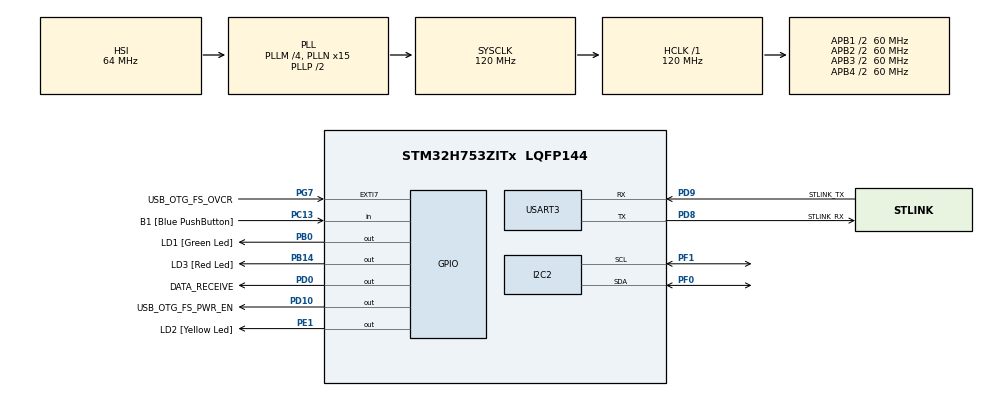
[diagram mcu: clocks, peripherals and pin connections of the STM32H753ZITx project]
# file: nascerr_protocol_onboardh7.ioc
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CORTEX_M7.CPU_DCache=Disabled
CORTEX_M7.CPU_ICache=Disabled
CORTEX_M7.MPU_Control=__NULL
Dma.Request0=USART3_TX
Dma.USART3_TX.0.Direction=DMA_MEMORY_TO_PERIPH
Dma.USART3_TX.0.EventEnable=DISABLE
Dma.USART3_TX.0.FIFOMode=DMA_FIFOMODE_DISABLE
Dma.USART3_TX.0.Instance=DMA1_Stream0
Dma.USART3_TX.0.MemDataAlignment=DMA_MDATAALIGN_BYTE
Dma.USART3_TX.0.MemInc=DMA_MINC_ENABLE
Dma.USART3_TX.0.Mode=DMA_NORMAL
Dma.USART3_TX.0.PeriphDataAlignment=DMA_PDATAALIGN_BYTE
Dma.USART3_TX.0.PeriphInc=DMA_PINC_DISABLE
Dma.USART3_TX.0.Polarity=HAL_DMAMUX_REQ_GEN_RISING
Dma.USART3_TX.0.Priority=DMA_PRIORITY_LOW
Dma.USART3_TX.0.RequestNumber=1
Dma.USART3_TX.0.SignalID=NONE
Dma.USART3_TX.0.SyncEnable=DISABLE
Dma.USART3_TX.0.SyncPolarity=HAL_DMAMUX_SYNC_NO_EVENT
Dma.USART3_TX.0.SyncRequestNumber=1
Dma.USART3_TX.0.SyncSignalID=NONE
I2C2.OwnAddress=0x55
I2C2.Timing=0x107075B0
Mcu.Family=STM32H7
Mcu.Name=STM32H753ZITx
Mcu.Package=LQFP144
NVIC.DMA1_Stream0_IRQn=true\:0\:0\:false\:false\:true\:false\:true\:true
NVIC.I2C2_ER_IRQn=true\:0\:0\:false\:false\:true\:true\:true\:true
NVIC.I2C2_EV_IRQn=true\:0\:0\:false\:false\:true\:true\:true\:true
NVIC.PriorityGroup=NVIC_PRIORITYGROUP_4
NVIC.TIM1_UP_IRQn=true\:0\:0\:true\:false\:true\:true\:true\:true
NVIC.USART3_IRQn=true\:0\:0\:false\:false\:true\:true\:true\:true
PA1.Signal=ETH_REF_CLK
PA11.Signal=USB_OTG_FS_DM
PA12.Signal=USB_OTG_FS_DP
PA2.Signal=ETH_MDIO
PA7.Signal=ETH_CRS_DV
PA8.Signal=USB_OTG_FS_SOF
PA9.Signal=USB_OTG_FS_VBUS
PB0.GPIO_Label=LD1 [Green Led]
PB0.Signal=GPIO_Output
PB13.Signal=ETH_TXD1
PB14.GPIO_Label=LD3 [Red Led]
PB14.Signal=GPIO_Output
PC1.Signal=ETH_MDC
PC13.GPIO_Label=B1 [Blue PushButton]
PC13.Signal=GPIO_Input
PC14-OSC32_IN\ (OSC32_IN).Signal=RCC_OSC32_IN
PC15-OSC32_OUT\ (OSC32_OUT).Signal=RCC_OSC32_OUT
PC4.Signal=ETH_RXD0
PC5.Signal=ETH_RXD1
PD0.GPIO_Label=DATA_RECEIVE
PD0.Signal=GPIO_Output
PD10.GPIO_Label=USB_OTG_FS_PWR_EN
PD10.Signal=GPIO_Output
PD8.GPIO_Label=STLINK_RX
PD8.Mode=Asynchronous
PD8.Signal=USART3_TX
PD9.GPIO_Label=STLINK_TX
PD9.Mode=Asynchronous
PD9.Signal=USART3_RX
PE1.GPIO_Label=LD2 [Yellow Led]
PE1.Signal=GPIO_Output
PF0.GPIO_Pu=GPIO_PULLUP
PF0.Mode=I2C
PF0.Signal=I2C2_SDA
PF1.GPIO_Pu=GPIO_PULLUP
PF1.Mode=I2C
PF1.Signal=I2C2_SCL
PG11.Signal=ETH_TX_EN
PG13.Signal=ETH_TXD0
PG7.GPIO_Label=USB_OTG_FS_OVCR
PG7.Signal=GPXTI7
PH0-OSC_IN\ (PH0).Mode=HSE-External-Oscillator
PH0-OSC_IN\ (PH0).Signal=RCC_OSC_IN
PH1-OSC_OUT\ (PH1).Mode=HSE-External-Oscillator
PH1-OSC_OUT\ (PH1).Signal=RCC_OSC_OUT
ProjectManager.HeapSize=0x200
ProjectManager.StackSize=0x400
ProjectManager.TargetToolchain=STM32CubeIDE
RCC.ADCFreq_Value=129000000
RCC.APB1Freq_Value=60000000
RCC.APB2Freq_Value=60000000
RCC.APB3Freq_Value=60000000
RCC.APB4Freq_Value=60000000
RCC.CortexFreq_Value=120000000
RCC.D1PPRE=RCC_APB3_DIV2
RCC.D2PPRE1=RCC_APB1_DIV2
RCC.D2PPRE2=RCC_APB2_DIV2
RCC.D3PPRE=RCC_APB4_DIV2
RCC.DIVM1=4
RCC.DIVN1=15
RCC.DIVQ1=4
RCC.HCLKFreq_Value=120000000
RCC.HSE_VALUE=8000000
RCC.PLL2FRACN=0
RCC.PLL3FRACN=0
RCC.PLLFRACN=0
RCC.PWR_Regulator_Voltage_Scale=PWR_REGULATOR_VOLTAGE_SCALE2
RCC.SYSCLKFreq_VALUE=120000000
RCC.SYSCLKSource=RCC_SYSCLKSOURCE_PLLCLK
RCC.USBFreq_Value=60000000
TIM1.Period=60000-1
TIM1.Prescaler=2-1
USART3.VirtualMode-Asynchronous=VM_ASYNC
VP_MEMORYMAP_VS_MEMORYMAP.Mode=CurAppReg
VP_TIM1_VS_ClockSourceINT.Mode=Internal
board=NUCLEO-H753ZI

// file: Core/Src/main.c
/* USER CODE BEGIN Header */
/**
  ******************************************************************************
  * @file           : main.c
  * @brief          : Main program body
  ******************************************************************************
  * @attention
  *
  * Copyright (c) 2024 STMicroelectronics.
  * All rights reserved.
  *
  * This software is licensed under terms that can be found in the LICENSE file
  * in the root directory of this software component.
  * If no LICENSE file comes with this software, it is provided AS-IS.
  *
  ******************************************************************************
  */
/* USER CODE END Header */
#include "main.h"

/* USER CODE BEGIN Includes */
#include <stdio.h>
#include "i2c_slave.h"
#include "NASCERR_SysTime.h"
#include "NASCERR_Protocol.h"
#include "NASCERR_Control.h"
/* USER CODE END Includes */

Seq_ReadTypeDef teste;
int teste2;

I2C_HandleTypeDef hi2c2;

TIM_HandleTypeDef htim1;

UART_HandleTypeDef huart3;
DMA_HandleTypeDef hdma_usart3_tx;

/* USER CODE BEGIN PV */
NASCERR_COMMANDS command = NO_COMMANDS;
uint32_t g_Timer[3] = {0,0,0};
uint32_t g_Timer2[3] = {0,0,0};
extern PARAM_STANDARD transmitted, received;

/* USER CODE END PV */

void SystemClock_Config(void);
static void MX_GPIO_Init(void);
static void MX_DMA_Init(void);
static void MX_USART3_UART_Init(void);
static void MX_I2C2_Init(void);
static void MX_TIM1_Init(void);

/* USER CODE BEGIN 0 */
int _write(int file, char *ptr, int len)
{
	HAL_UART_Transmit_DMA(&huart3, (uint8_t*) ptr, len);

	return len;
}
/* USER CODE END 0 */

int main(void)
{

  /* MCU Configuration--------------------------------------------------------*/

  /* Reset of all peripherals, Initializes the Flash interface and the Systick. */
  HAL_Init();

  /* Configure the system clock */
  SystemClock_Config();

  /* Initialize all configured peripherals */
  MX_GPIO_Init();
  MX_DMA_Init();
  MX_USART3_UART_Init();
  MX_I2C2_Init();
  MX_TIM1_Init();
  /* USER CODE BEGIN 2 */
  HAL_TIM_Base_Start_IT(&htim1);
  i2c_slave_init();
  printf("Application Initialized...\r\n");
  /* USER CODE END 2 */

  /* Infinite loop */
  /* USER CODE BEGIN WHILE */
  while (1)
  {
	  teste2 = sizeof(teste);
	  if(nascerr_protocol_receivedNewCommand())
	  {
		  command = nascerr_protocol_processCommand();
		  HAL_GPIO_WritePin(DATA_RECEIVE_GPIO_Port, DATA_RECEIVE_Pin, GPIO_PIN_SET);
	  }

//	  if (nascerr_systimer(TIMER_1s, g_Timer2) == Set)
//	  {
//		  HAL_GPIO_TogglePin(LD1_GPIO_Port, LD1_Pin);
//	  }

//	  if ((transmitted != Action_Succeeded)||(received != Action_Succeeded))
//	  {
//		  if (nascerr_systimer(TIMER_10ms, g_Timer) == Set)
//		  {
//			  transmitted = Action_Succeeded;
//			  received = Action_Succeeded;
//			  i2c_slave_reset();
//		  }
//	  }
//	  else {
//		  nascerr_systimer_reset(g_Timer);
//	  }
    /* USER CODE END WHILE */

  }
}

void SystemClock_Config(void)
{
  RCC_OscInitTypeDef RCC_OscInitStruct = {0};
  RCC_ClkInitTypeDef RCC_ClkInitStruct = {0};

  /** Supply configuration update enable
  */
  HAL_PWREx_ConfigSupply(PWR_LDO_SUPPLY);

  /** Configure the main internal regulator output voltage
  */
  __HAL_PWR_VOLTAGESCALING_CONFIG(PWR_REGULATOR_VOLTAGE_SCALE2);

  while(!__HAL_PWR_GET_FLAG(PWR_FLAG_VOSRDY)) {}

  /** Initializes the RCC Oscillators according to the specified parameters
  * in the RCC_OscInitTypeDef structure.
  */
  RCC_OscInitStruct.OscillatorType = RCC_OSCILLATORTYPE_HSI;
  RCC_OscInitStruct.HSIState = RCC_HSI_DIV1;
  RCC_OscInitStruct.HSICalibrationValue = RCC_HSICALIBRATION_DEFAULT;
  RCC_OscInitStruct.PLL.PLLState = RCC_PLL_ON;
  RCC_OscInitStruct.PLL.PLLSource = RCC_PLLSOURCE_HSI;
  RCC_OscInitStruct.PLL.PLLM = 4;
  RCC_OscInitStruct.PLL.PLLN = 15;
  RCC_OscInitStruct.PLL.PLLP = 2;
  RCC_OscInitStruct.PLL.PLLQ = 4;
  RCC_OscInitStruct.PLL.PLLR = 2;
  RCC_OscInitStruct.PLL.PLLRGE = RCC_PLL1VCIRANGE_3;
  RCC_OscInitStruct.PLL.PLLVCOSEL = RCC_PLL1VCOWIDE;
  RCC_OscInitStruct.PLL.PLLFRACN = 0;
  if (HAL_RCC_OscConfig(&RCC_OscInitStruct) != HAL_OK)
  {
    Error_Handler();
  }

  /** Initializes the CPU, AHB and APB buses clocks
  */
  RCC_ClkInitStruct.ClockType = RCC_CLOCKTYPE_HCLK|RCC_CLOCKTYPE_SYSCLK
                              |RCC_CLOCKTYPE_PCLK1|RCC_CLOCKTYPE_PCLK2
                              |RCC_CLOCKTYPE_D3PCLK1|RCC_CLOCKTYPE_D1PCLK1;
  RCC_ClkInitStruct.SYSCLKSource = RCC_SYSCLKSOURCE_PLLCLK;
  RCC_ClkInitStruct.SYSCLKDivider = RCC_SYSCLK_DIV1;
  RCC_ClkInitStruct.AHBCLKDivider = RCC_HCLK_DIV1;
  RCC_ClkInitStruct.APB3CLKDivider = RCC_APB3_DIV2;
  RCC_ClkInitStruct.APB1CLKDivider = RCC_APB1_DIV2;
  RCC_ClkInitStruct.APB2CLKDivider = RCC_APB2_DIV2;
  RCC_ClkInitStruct.APB4CLKDivider = RCC_APB4_DIV2;

  if (HAL_RCC_ClockConfig(&RCC_ClkInitStruct, FLASH_LATENCY_2) != HAL_OK)
  {
    Error_Handler();
  }
}

static void MX_I2C2_Init(void)
{

  hi2c2.Instance = I2C2;
  hi2c2.Init.Timing = 0x107075B0;
  hi2c2.Init.OwnAddress1 = 170;
  hi2c2.Init.AddressingMode = I2C_ADDRESSINGMODE_7BIT;
  hi2c2.Init.DualAddressMode = I2C_DUALADDRESS_DISABLE;
  hi2c2.Init.OwnAddress2 = 0;
  hi2c2.Init.OwnAddress2Masks = I2C_OA2_NOMASK;
  hi2c2.Init.GeneralCallMode = I2C_GENERALCALL_DISABLE;
  hi2c2.Init.NoStretchMode = I2C_NOSTRETCH_DISABLE;
  if (HAL_I2C_Init(&hi2c2) != HAL_OK)
  {
    Error_Handler();
  }

  /** Configure Analogue filter
  */
  if (HAL_I2CEx_ConfigAnalogFilter(&hi2c2, I2C_ANALOGFILTER_ENABLE) != HAL_OK)
  {
    Error_Handler();
  }

  /** Configure Digital filter
  */
  if (HAL_I2CEx_ConfigDigitalFilter(&hi2c2, 0) != HAL_OK)
  {
    Error_Handler();
  }

}

static void MX_TIM1_Init(void)
{

  TIM_ClockConfigTypeDef sClockSourceConfig = {0};
  TIM_MasterConfigTypeDef sMasterConfig = {0};

  htim1.Instance = TIM1;
  htim1.Init.Prescaler = 2-1;
  htim1.Init.CounterMode = TIM_COUNTERMODE_UP;
  htim1.Init.Period = 60000-1;
  htim1.Init.ClockDivision = TIM_CLOCKDIVISION_DIV1;
  htim1.Init.RepetitionCounter = 0;
  htim1.Init.AutoReloadPreload = TIM_AUTORELOAD_PRELOAD_DISABLE;
  if (HAL_TIM_Base_Init(&htim1) != HAL_OK)
  {
    Error_Handler();
  }
  sClockSourceConfig.ClockSource = TIM_CLOCKSOURCE_INTERNAL;
  if (HAL_TIM_ConfigClockSource(&htim1, &sClockSourceConfig) != HAL_OK)
  {
    Error_Handler();
  }
  sMasterConfig.MasterOutputTrigger = TIM_TRGO_RESET;
  sMasterConfig.MasterOutputTrigger2 = TIM_TRGO2_RESET;
  sMasterConfig.MasterSlaveMode = TIM_MASTERSLAVEMODE_DISABLE;
  if (HAL_TIMEx_MasterConfigSynchronization(&htim1, &sMasterConfig) != HAL_OK)
  {
    Error_Handler();
  }

}

static void MX_USART3_UART_Init(void)
{

  huart3.Instance = USART3;
  huart3.Init.BaudRate = 115200;
  huart3.Init.WordLength = UART_WORDLENGTH_8B;
  huart3.Init.StopBits = UART_STOPBITS_1;
  huart3.Init.Parity = UART_PARITY_NONE;
  huart3.Init.Mode = UART_MODE_TX_RX;
  huart3.Init.HwFlowCtl = UART_HWCONTROL_NONE;
  huart3.Init.OverSampling = UART_OVERSAMPLING_16;
  huart3.Init.OneBitSampling = UART_ONE_BIT_SAMPLE_DISABLE;
  huart3.Init.ClockPrescaler = UART_PRESCALER_DIV1;
  huart3.AdvancedInit.AdvFeatureInit = UART_ADVFEATURE_NO_INIT;
  if (HAL_UART_Init(&huart3) != HAL_OK)
  {
    Error_Handler();
  }
  if (HAL_UARTEx_SetTxFifoThreshold(&huart3, UART_TXFIFO_THRESHOLD_1_8) != HAL_OK)
  {
    Error_Handler();
  }
  if (HAL_UARTEx_SetRxFifoThreshold(&huart3, UART_RXFIFO_THRESHOLD_1_8) != HAL_OK)
  {
    Error_Handler();
  }
  if (HAL_UARTEx_DisableFifoMode(&huart3) != HAL_OK)
  {
    Error_Handler();
  }

}

static void MX_DMA_Init(void)
{

  /* DMA controller clock enable */
  __HAL_RCC_DMA1_CLK_ENABLE();

  /* DMA interrupt init */
  /* DMA1_Stream0_IRQn interrupt configuration */
  HAL_NVIC_SetPriority(DMA1_Stream0_IRQn, 0, 0);
  HAL_NVIC_EnableIRQ(DMA1_Stream0_IRQn);

}

static void MX_GPIO_Init(void)
{
  GPIO_InitTypeDef GPIO_InitStruct = {0};

  /* GPIO Ports Clock Enable */
  __HAL_RCC_GPIOC_CLK_ENABLE();
  __HAL_RCC_GPIOF_CLK_ENABLE();
  __HAL_RCC_GPIOH_CLK_ENABLE();
  __HAL_RCC_GPIOA_CLK_ENABLE();
  __HAL_RCC_GPIOB_CLK_ENABLE();
  __HAL_RCC_GPIOD_CLK_ENABLE();
  __HAL_RCC_GPIOG_CLK_ENABLE();
  __HAL_RCC_GPIOE_CLK_ENABLE();

  /*Configure GPIO pin Output Level */
  HAL_GPIO_WritePin(GPIOB, LD1_Pin|LD3_Pin, GPIO_PIN_RESET);

  /*Configure GPIO pin Output Level */
  HAL_GPIO_WritePin(GPIOD, USB_OTG_FS_PWR_EN_Pin|DATA_RECEIVE_Pin, GPIO_PIN_RESET);

  /*Configure GPIO pin Output Level */
  HAL_GPIO_WritePin(LD2_GPIO_Port, LD2_Pin, GPIO_PIN_RESET);

  /*Configure GPIO pin : B1_Pin */
  GPIO_InitStruct.Pin = B1_Pin;
  GPIO_InitStruct.Mode = GPIO_MODE_INPUT;
  GPIO_InitStruct.Pull = GPIO_NOPULL;
  HAL_GPIO_Init(B1_GPIO_Port, &GPIO_InitStruct);

  /*Configure GPIO pins : PC1 PC4 PC5 */
  GPIO_InitStruct.Pin = GPIO_PIN_1|GPIO_PIN_4|GPIO_PIN_5;
  GPIO_InitStruct.Mode = GPIO_MODE_AF_PP;
  GPIO_InitStruct.Pull = GPIO_NOPULL;
  GPIO_InitStruct.Speed = GPIO_SPEED_FREQ_LOW;
  GPIO_InitStruct.Alternate = GPIO_AF11_ETH;
  HAL_GPIO_Init(GPIOC, &GPIO_InitStruct);

  /*Configure GPIO pins : PA1 PA2 PA7 */
  GPIO_InitStruct.Pin = GPIO_PIN_1|GPIO_PIN_2|GPIO_PIN_7;
  GPIO_InitStruct.Mode = GPIO_MODE_AF_PP;
  GPIO_InitStruct.Pull = GPIO_NOPULL;
  GPIO_InitStruct.Speed = GPIO_SPEED_FREQ_LOW;
  GPIO_InitStruct.Alternate = GPIO_AF11_ETH;
  HAL_GPIO_Init(GPIOA, &GPIO_InitStruct);

  /*Configure GPIO pins : LD1_Pin LD3_Pin */
  GPIO_InitStruct.Pin = LD1_Pin|LD3_Pin;
  GPIO_InitStruct.Mode = GPIO_MODE_OUTPUT_PP;
  GPIO_InitStruct.Pull = GPIO_NOPULL;
  GPIO_InitStruct.Speed = GPIO_SPEED_FREQ_LOW;
  HAL_GPIO_Init(GPIOB, &GPIO_InitStruct);

  /*Configure GPIO pin : PB13 */
  GPIO_InitStruct.Pin = GPIO_PIN_13;
  GPIO_InitStruct.Mode = GPIO_MODE_AF_PP;
  GPIO_InitStruct.Pull = GPIO_NOPULL;
  GPIO_InitStruct.Speed = GPIO_SPEED_FREQ_LOW;
  GPIO_InitStruct.Alternate = GPIO_AF11_ETH;
  HAL_GPIO_Init(GPIOB, &GPIO_InitStruct);

  /*Configure GPIO pins : USB_OTG_FS_PWR_EN_Pin DATA_RECEIVE_Pin */
  GPIO_InitStruct.Pin = USB_OTG_FS_PWR_EN_Pin|DATA_RECEIVE_Pin;
  GPIO_InitStruct.Mode = GPIO_MODE_OUTPUT_PP;
  GPIO_InitStruct.Pull = GPIO_NOPULL;
  GPIO_InitStruct.Speed = GPIO_SPEED_FREQ_LOW;
  HAL_GPIO_Init(GPIOD, &GPIO_InitStruct);

  /*Configure GPIO pin : USB_OTG_FS_OVCR_Pin */
  GPIO_InitStruct.Pin = USB_OTG_FS_OVCR_Pin;
  GPIO_InitStruct.Mode = GPIO_MODE_IT_RISING;
  GPIO_InitStruct.Pull = GPIO_NOPULL;
  HAL_GPIO_Init(USB_OTG_FS_OVCR_GPIO_Port, &GPIO_InitStruct);

  /*Configure GPIO pins : PA8 PA11 PA12 */
  GPIO_InitStruct.Pin = GPIO_PIN_8|GPIO_PIN_11|GPIO_PIN_12;
  GPIO_InitStruct.Mode = GPIO_MODE_AF_PP;
  GPIO_InitStruct.Pull = GPIO_NOPULL;
  GPIO_InitStruct.Speed = GPIO_SPEED_FREQ_LOW;
  GPIO_InitStruct.Alternate = GPIO_AF10_OTG1_FS;
  HAL_GPIO_Init(GPIOA, &GPIO_InitStruct);

  /*Configure GPIO pins : PG11 PG13 */
  GPIO_InitStruct.Pin = GPIO_PIN_11|GPIO_PIN_13;
  GPIO_InitStruct.Mode = GPIO_MODE_AF_PP;
  GPIO_InitStruct.Pull = GPIO_NOPULL;
  GPIO_InitStruct.Speed = GPIO_SPEED_FREQ_LOW;
  GPIO_InitStruct.Alternate = GPIO_AF11_ETH;
  HAL_GPIO_Init(GPIOG, &GPIO_InitStruct);

  /*Configure GPIO pin : LD2_Pin */
  GPIO_InitStruct.Pin = LD2_Pin;
  GPIO_InitStruct.Mode = GPIO_MODE_OUTPUT_PP;
  GPIO_InitStruct.Pull = GPIO_NOPULL;
  GPIO_InitStruct.Speed = GPIO_SPEED_FREQ_LOW;
  HAL_GPIO_Init(LD2_GPIO_Port, &GPIO_InitStruct);

}

/* USER CODE BEGIN 4 */
void HAL_TIM_PeriodElapsedCallback(TIM_HandleTypeDef *htim)
{
	if (htim == &htim1)
	{
//		nascerr_systimer_refresh();
	}
}
/* USER CODE END 4 */

void Error_Handler(void)
{
  __disable_irq();
  while (1)
  {
  }
}
